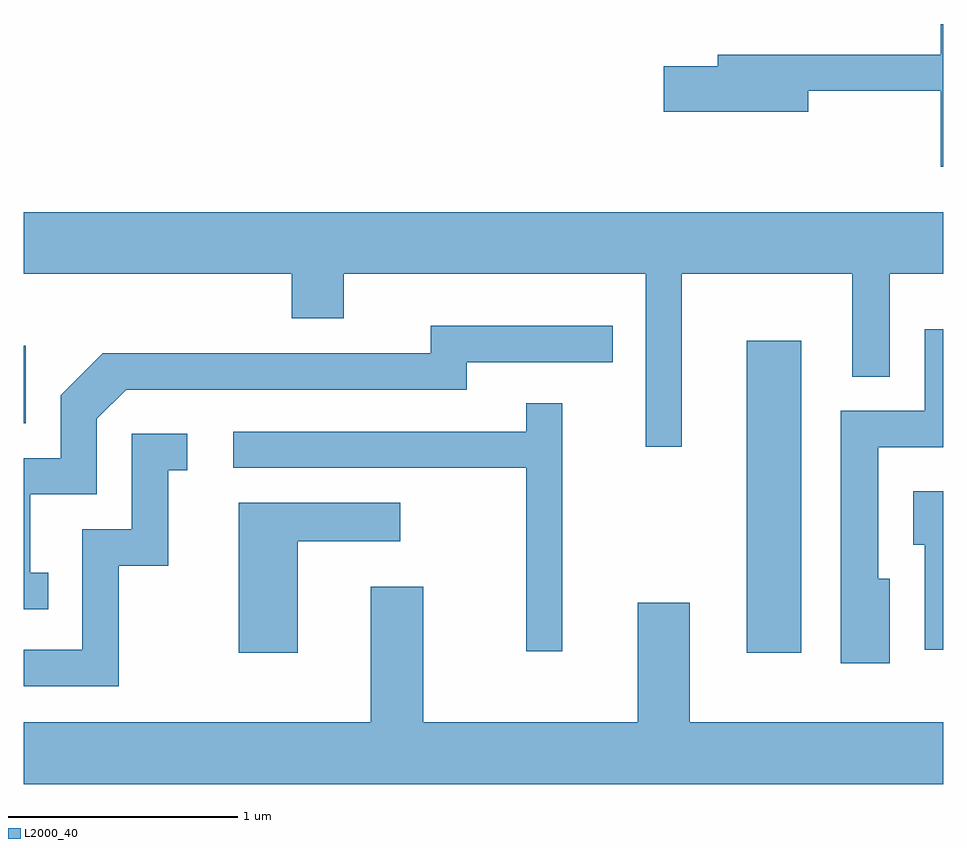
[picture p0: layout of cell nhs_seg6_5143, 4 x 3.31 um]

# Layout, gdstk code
import gdstk
lib = gdstk.Library(unit=1e-6, precision=1e-09)
def R(c, l, rs):  # rectangles x0, y0, x1, y1
    for r in rs: c.add(gdstk.rectangle(r[:2], r[2:], *l))
def P(c, l, *ps):  # polygons
    for p in ps: c.add(gdstk.Polygon(p, *l))
L2000_40 = (2000, 40)

nhs_seg6_5143 = lib.new_cell('nhs_seg6_5143')
R(nhs_seg6_5143, L2000_40, [(344.756,1619.426,344.994,1620.784), (341.611,1620.426,341.619,1620.763)])
P(nhs_seg6_5143, L2000_40, [(345.611,1622.162),(345.601,1622.162),(345.601,1622.029),(344.631,1622.029),(344.631,1621.979),(344.396,1621.979),(344.396,1621.781),(345.024,1621.781),(345.024,1621.871),(345.601,1621.871),(345.601,1621.541),(345.611,1621.541)],
  [(344.474,1621.076),(345.216,1621.076),(345.216,1620.628),(345.379,1620.628),(345.379,1621.076),(345.611,1621.076),(345.611,1621.344),(341.611,1621.344),(341.611,1621.076),(342.776,1621.076),(342.776,1620.881),(343.004,1620.881),(343.004,1621.076),(344.316,1621.076),(344.316,1620.323),(344.474,1620.323)],
  [(341.718,1619.774),(341.639,1619.774),(341.639,1620.116),(341.929,1620.116),(341.929,1620.444),(342.057,1620.571),(343.539,1620.571),(343.539,1620.691),(344.173,1620.691),(344.173,1620.849),(343.381,1620.849),(343.381,1620.729),(341.954,1620.729),(341.771,1620.547),(341.771,1620.274),(341.611,1620.274),(341.611,1619.616),(341.718,1619.616)],
  [(345.379,1619.749),(345.329,1619.749),(345.329,1620.321),(345.611,1620.321),(345.611,1620.834),(345.531,1620.834),(345.531,1620.479),(345.166,1620.479),(345.166,1619.381),(345.379,1619.381)],
  [(343.954,1620.513),(343.796,1620.513),(343.796,1620.389),(342.523,1620.389),(342.523,1620.231),(343.796,1620.231),(343.796,1619.433),(343.954,1619.433)],
  [(342.024,1619.806),(342.239,1619.806),(342.239,1620.221),(342.323,1620.221),(342.323,1620.379),(342.081,1620.379),(342.081,1619.964),(341.866,1619.964),(341.866,1619.439),(341.611,1619.439),(341.611,1619.281),(342.024,1619.281)],
  [(345.611,1620.129),(345.481,1620.129),(345.481,1619.896),(345.531,1619.896),(345.531,1619.441),(345.611,1619.441)],
  [(342.804,1619.911),(343.248,1619.911),(343.248,1620.079),(342.546,1620.079),(342.546,1619.426),(342.804,1619.426)],
  [(345.611,1619.124),(344.509,1619.124),(344.509,1619.644),(344.281,1619.644),(344.281,1619.124),(343.349,1619.124),(343.349,1619.714),(343.121,1619.714),(343.121,1619.124),(341.611,1619.124),(341.611,1618.856),(345.611,1618.856)])

lib.write_gds('nhs_seg6_5143.gds')
